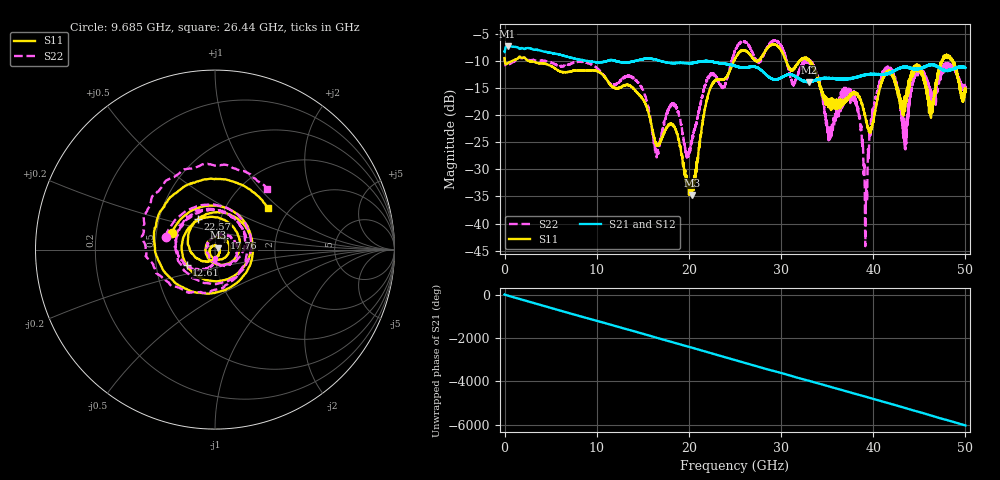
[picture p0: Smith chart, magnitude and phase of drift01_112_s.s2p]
!Created with skrf (http://scikit-rf.org).
# Hz S RI R 50.0
!freq ReS11 ImS11 ReS21 ImS21 ReS12 ImS12 ReS22 ImS22
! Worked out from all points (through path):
!   10001 points, 300 kHz to 50 GHz, reference 50 ohm
!   highest |S21| = -7.33 dB at 315.3 MHz (marker M1); lowest = -14.0 dB at 33.02 GHz (marker M2)
!   group delay of S21, straight-line fit = 335 ps
!   lowest |S11| = -34.7 dB at 20.34 GHz (marker M3), VSWR 1.04, Z = 51.5 + j1.09 ohm
!   |S11| at or under -10 dB: 2.553 GHz to 24.91 GHz (22.36 GHz wide, 163 % of centre); 30.53 GHz to 32.02 GHz (1.488 GHz wide, 4.76 % of centre); 33.07 GHz to 47.45 GHz (14.39 GHz wide, 35.7 % of centre)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
!   |S22| runs from -44.1 to -6.3 dB; largest |S21 - S12| = 0.0097
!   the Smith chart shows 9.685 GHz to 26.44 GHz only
!   S11 on the Smith chart (normalised r, x): 9.685 GHz: 0.60, +0.12; 12.61 GHz: 0.72, -0.13; 17.76 GHz: 1.10, +0.14; 22.57 GHz: 0.79, +0.28; 26.44 GHz: 1.55, +0.84
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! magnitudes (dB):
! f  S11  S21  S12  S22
! 300 kHz  -9.5  -8.4  -8.5  -9.4
! 315.3 MHz  -10.5  -7.3  -7.3  -10.9
! 8.335 GHz  -11.8  -9.8  -9.8  -10.2
! 9.685 GHz  -11.8  -10.2  -10.2  -11.0
! 12.61 GHz  -14.9  -10.3  -10.3  -13.6
! 16.67 GHz  -25.6  -9.9  -9.9  -27.0
! 17.76 GHz  -21.8  -10.4  -10.4  -19.1
! 20.34 GHz  -34.7  -10.4  -10.4  -24.7
! 22.57 GHz  -14.2  -10.2  -10.2  -12.5
! 25 GHz  -9.6  -11.0  -11.0  -8.3
! 26.44 GHz  -8.5  -11.2  -11.2  -7.0
! 33.02 GHz  -9.8  -14.0  -13.8  -10.1
! 33.34 GHz  -10.7  -13.8  -13.8  -10.4
! 35.25 GHz  -17.6  -13.2  -13.3  -23.3
! 37.97 GHz  -15.8  -13.1  -13.1  -17.4
! 39.16 GHz  -20.4  -12.6  -12.6  -40.2
! 40.14 GHz  -19.9  -12.5  -12.5  -17.9
! 41.67 GHz  -12.0  -12.2  -12.3  -12.0
! 43.45 GHz  -18.0  -11.2  -11.3  -24.0
! 44.89 GHz  -11.3  -11.5  -11.5  -11.9
! 46.27 GHz  -20.5  -10.7  -10.7  -16.0
! 50 GHz  -15.6  -11.3  -11.3  -15.1
